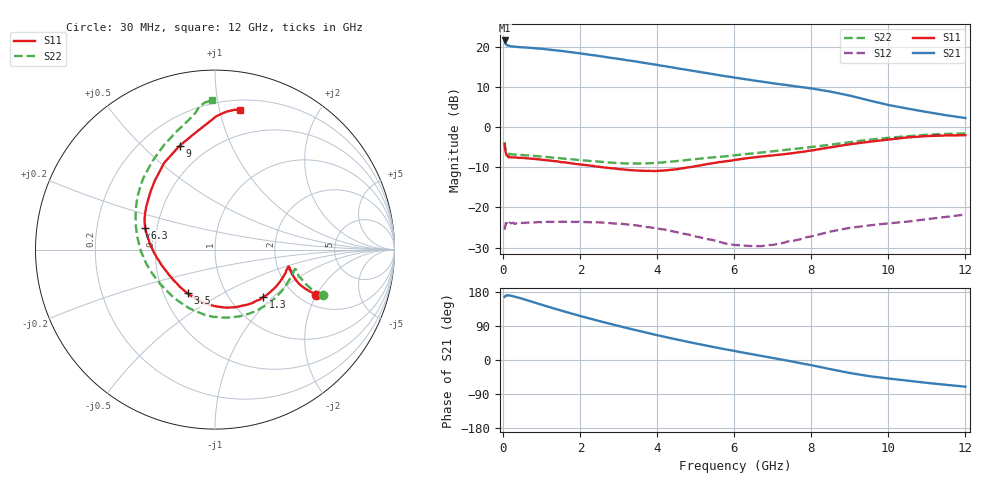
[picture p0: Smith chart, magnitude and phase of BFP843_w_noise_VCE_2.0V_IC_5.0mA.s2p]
! Infineon Technologies  Discrete & RF Semiconductors
! BFP843
! VCE =  2.0 V,  IC =  5.0 mA
! Common Emitter S-Parameters:  Aug 2013
# GHz  S  MA  R  50
!  f  S11  S21  S12  S22
! GHz  MAG  ANG  MAG  ANG  MAG  ANG  MAG  ANG
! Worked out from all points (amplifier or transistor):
!   103 points, 30 MHz to 12 GHz, reference 50 ohm
!   highest |S21| = 21.5 dB at 30 MHz (marker M1)
!   |S21| within 3 dB of that: start of sweep to 1.823 GHz
!   unconditionally stable (mu >= 1): 139.5 MHz to 140.2 MHz; 176.4 MHz to 1.082 GHz; 1.808 GHz to 10.89 GHz
!   at 400 MHz: K = 1.01, MAG = 21.2 dB, |S12| = -23.8 dB
!   at 3.7 GHz: K = 1.24, MAG = 17.5 dB, |S12| = -24.9 dB
!   at 12 GHz: K = 0.81, MSG = 12.0 dB, |S12| = -21.8 dB
!   lowest NFmin = 0.94 dB at 450 MHz
!   S11 on the Smith chart (normalised r, x): 30 MHz: 2.43, -1.96; 1.3 GHz: 1.42, -0.88; 3.5 GHz: 0.66, -0.35; 6.3 GHz: 0.43, +0.13; 9 GHz: 0.35, +0.65; 12 GHz: 0.28, +1.15
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0.03  0.6143 -24.1  11.94 166.6  0.0529 33.6  0.6524 -22.9
0.05  0.5061 -22.2  10.98 169.2  0.0587 13.8  0.5436 -20.9
0.07  0.4604 -18.7  10.56 170.0  0.0638 13.4  0.5021 -18.2
0.13  0.4296 -14.2  10.3 170.8  0.0619 9.0  0.4658 -14.0
0.2  0.4197 -12.8  10.08 169.5  0.0636 6.0  0.4583 -13.7
0.7  0.405 -25.3  9.656 155.0  0.065 -1.4  0.4429 -28.4
1  0.3917 -34.7  9.406 145.6  0.0656 -3.1  0.4294 -39.6
1.3  0.3776 -44.5  9.057 136.4  0.0663 -5.6  0.4154 -51.0
1.7  0.3577 -58.2  8.598 124.6  0.066 -8.1  0.3995 -65.9
2.1  0.3384 -72.1  8.091 113.3  0.0659 -12.2  0.3837 -81.0
2.6  0.3149 -89.6  7.504 99.9  0.0648 -16.4  0.3679 -99.0
3  0.2995 -103.9  7.025 89.6  0.0631 -20.2  0.3572 -113.5
3.5  0.2872 -122.2  6.466 77.3  0.0594 -25.1  0.3521 -131.4
4.1  0.2871 -143.8  5.799 63.1  0.0536 -29.6  0.3612 -150.9
5  0.327 -172.0  4.923 43.5  0.0435 -30.9  0.3991 -173.0
6.1  0.3952 165.9  4.057 21.9  0.034 -21.0  0.4499 166.5
6.3  0.4077 162.5  3.928 18.2  0.0334 -15.4  0.4611 163.1
7.5  0.4722 140.8  3.255 -4.0  0.0381 3.7  0.5304 143.5
8.5  0.5602 120.4  2.754 -24.2  0.0502 6.2  0.6033 125.4
9  0.6114 108.8  2.458 -34.3  0.0558 4.7  0.6493 115.8
10.5  0.7436 89.4  1.696 -54.5  0.0667 -2.4  0.7687 98.2
12  0.7916 80.0  1.294 -70.4  0.0817 -9.7  0.8324 91.1
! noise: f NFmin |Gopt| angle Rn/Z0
0.45  0.94  0.18  8  0.01
0.9  0.95  0.19  17  0.03
1.5  0.98  0.18  28  0.1
1.9  1.01  0.16  40  0.18
2.4  1.06  0.14  49  0.26
3.5  1.14  0.11  64  0.3
5.5  1.29  0.13  -156  0.38
10  2.08  0.51  -74  0.44
